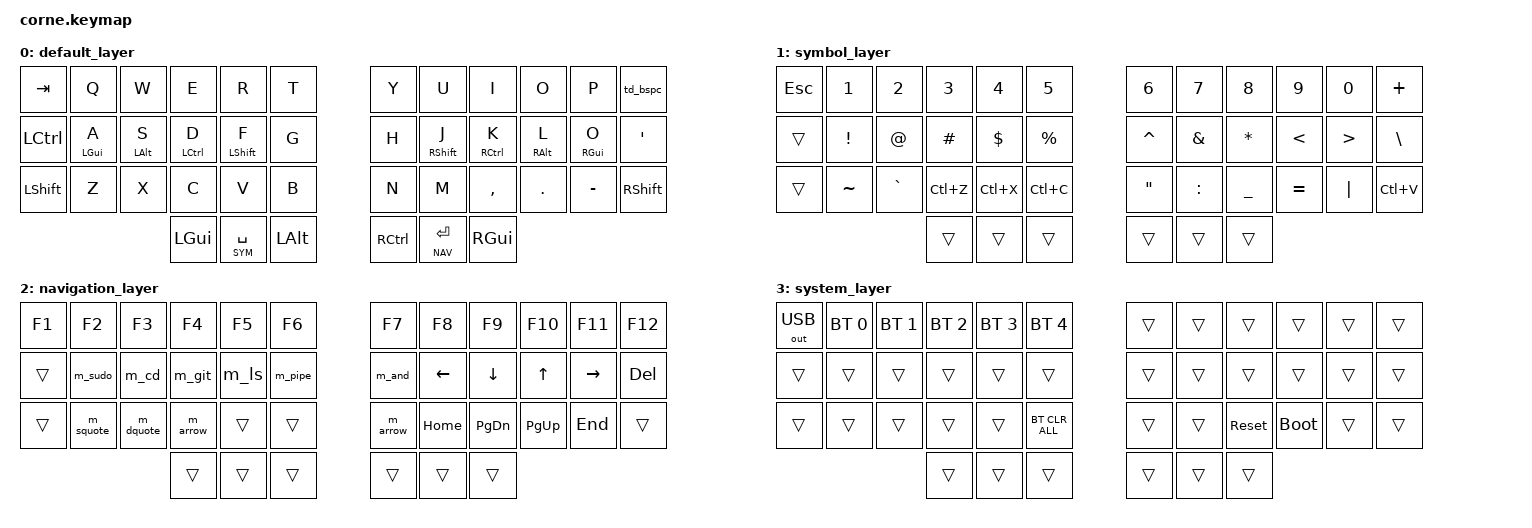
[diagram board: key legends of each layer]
/*
 * Copyright (c) 2020 The ZMK Contributors
 * SPDX-License-Identifier: MIT
 *
 * Corne V3 QWERTZ Layout - Mit Klammer-Combos und angepasstem Symbol-Layer
 */

#include <behaviors.dtsi>
#include <dt-bindings/zmk/keys.h>
#include <dt-bindings/zmk/bt.h>
#include <dt-bindings/zmk/outputs.h>

// Key Positions für Corne (0-41)
#define LEFT_POSITIONS  0 1 2 3 4 5 12 13 14 15 16 17 24 25 26 27 28 29 36 37 38
#define RIGHT_POSITIONS 6 7 8 9 10 11 18 19 20 21 22 23 30 31 32 33 34 35 39 40 41
/* Key Positions
╭────────────────────────╮ ╭────────────────────────╮
│  0   1   2   3   4   5 │ │  6   7   8   9  10  11 │
│ 12  13  14  15  16  17 │ │ 18  19  20  21  22  23 │
│ 24  25  26  27  28  29 │ │ 30  31  32  33  34  35 │
╰───────────╮ 36  37  38 │ │ 39  40  41 ╭───────────╯
                  ╰────────────╯ ╰────────────╯
*/

// Layer-Definitionen für bessere Lesbarkeit
#define DEF 0 // Default Layer
#define SYM 1 // Symbol Layer
#define NAV 2 // Navigations-/Funktions-Layer
#define SYS 3 // System Layer

/ { // Start des Root-Node Overlays

    behaviors {
        td_bspc: tap_dance_backspace {
            compatible = "zmk,behavior-tap-dance";
            #binding-cells = <0>;
            tapping-term-ms = <200>;
            bindings = <&kp BSPC>, <&kp LC(BSPC)>;
        };

        hrml: home_row_mods_left {
            compatible = "zmk,behavior-hold-tap";
            #binding-cells = <2>; 
            tapping-term-ms = <200>;
            quick-tap-ms = <150>;
            flavor = "balanced"; 
            hold-trigger-key-positions = <RIGHT_POSITIONS>;
            bindings = <&kp>, <&kp>; 
        };

        hrmr: home_row_mods_right {
            compatible = "zmk,behavior-hold-tap";
            #binding-cells = <2>; 
            tapping-term-ms = <200>;
            quick-tap-ms = <150>;
            flavor = "balanced";
            hold-trigger-key-positions = <LEFT_POSITIONS>;
            bindings = <&kp>, <&kp>; 
        };
        
        lt: layer_tap { 
            compatible = "zmk,behavior-hold-tap";
            #binding-cells = <2>; 
            tapping-term-ms = <250>; 
            quick-tap-ms = <150>;
            flavor = "hold-preferred"; 
            bindings = <&mo>, <&kp>; 
        };
    }; // Ende behaviors

    macros {
        m_sudo: macro_sudo { compatible = "zmk,behavior-macro"; #binding-cells = <0>; wait-ms = <10>; tap-ms = <10>; bindings = <&kp S>, <&kp U>, <&kp D>, <&kp O>, <&kp SPACE>; };
        m_cd: macro_cd { compatible = "zmk,behavior-macro"; #binding-cells = <0>; wait-ms = <10>; tap-ms = <10>; bindings = <&kp C>, <&kp D>, <&kp SPACE>; };
        m_ls: macro_ls { compatible = "zmk,behavior-macro"; #binding-cells = <0>; wait-ms = <10>; tap-ms = <10>; bindings = <&kp L>, <&kp S>, <&kp SPACE>, <&kp MINUS>, <&kp L>, <&kp A>, <&kp SPACE>; };
        m_git: macro_git { compatible = "zmk,behavior-macro"; #binding-cells = <0>; wait-ms = <10>; tap-ms = <10>; bindings = <&kp G>, <&kp I>, <&kp T>, <&kp SPACE>; };
        m_pipe: macro_pipe { compatible = "zmk,behavior-macro"; #binding-cells = <0>; wait-ms = <10>; tap-ms = <10>; bindings = <&kp SPACE>, <&kp PIPE>, <&kp SPACE>; };
        m_and: macro_and { compatible = "zmk,behavior-macro"; #binding-cells = <0>; wait-ms = <10>; tap-ms = <10>; bindings = <&kp SPACE>, <&kp AMPS>, <&kp AMPS>, <&kp SPACE>; };
        m_arrow: macro_arrow { compatible = "zmk,behavior-macro"; #binding-cells = <0>; wait-ms = <10>; tap-ms = <10>; bindings = <&kp MINUS>, <&kp GT>; };
        m_dquote: macro_dquote { compatible = "zmk,behavior-macro"; #binding-cells = <0>; wait-ms = <10>; tap-ms = <10>; bindings = <&kp DQT>, <&kp DQT>, <&kp LEFT>; }; // Behalten wir als Option
        m_squote: macro_squote { compatible = "zmk,behavior-macro"; #binding-cells = <0>; wait-ms = <10>; tap-ms = <10>; bindings = <&kp SQT>, <&kp SQT>, <&kp LEFT>; }; // Behalten wir als Option
    }; // Ende macros

    combos {
        compatible = "zmk,combos";
        combo_sys_layer {
            timeout-ms = <50>;
            key-positions = <20 41>; 
            bindings = <&to SYS>;
            layers = <DEF SYM NAV>; 
        };

        // Klammer-Combos
        combo_open_paren { timeout-ms = <50>; key-positions = <13 14>; bindings = <&kp LPAR>; layers = <DEF>; }; // ( via S+D
        combo_close_paren { timeout-ms = <50>; key-positions = <20 21>; bindings = <&kp RPAR>; layers = <DEF>; }; // ) via K+L
        combo_open_square { timeout-ms = <50>; key-positions = <12 13>; bindings = <&kp LBKT>; layers = <DEF>; }; // [ via A+S
        combo_close_square { timeout-ms = <50>; key-positions = <21 22>; bindings = <&kp RBKT>; layers = <DEF>; }; // ] via L+Ö(SQT)
        combo_open_brace { timeout-ms = <50>; key-positions = <1 2>; bindings = <&kp LBRC>; layers = <DEF>; };   // { via Q+W
        combo_close_brace { timeout-ms = <50>; key-positions = <8 9>; bindings = <&kp RBRC>; layers = <DEF>; };   // } via I+O
    }; // Ende combos

    keymap {
        compatible = "zmk,keymap";

        default_layer { 
            bindings = <
            &kp TAB      &kp Q            &kp W            &kp E            &kp R            &kp T            &kp Y            &kp U            &kp I            &kp O            &kp P            &td_bspc
            &kp LCTRL    &hrml LGUI A     &hrml LALT S     &hrml LCTRL D    &hrml LSHFT F    &kp G            &kp H            &hrmr RSHFT J    &hrmr RCTRL K    &hrmr RALT L     &hrmr RGUI O     &kp SQT
            &kp LSHFT    &kp Z            &kp X            &kp C            &kp V            &kp B            &kp N            &kp M            &kp COMMA        &kp DOT          &kp MINUS        &kp RSHFT
                                          &kp LGUI         &lt SYM SPACE    &kp LALT                          &kp RCTRL        &lt NAV RET      &kp RGUI
            >;
        };

        symbol_layer { 
            bindings = <
            // Linke Hälfte                                                                // Rechte Hälfte
            &kp ESC      &kp N1           &kp N2           &kp N3           &kp N4           &kp N5           &kp N6           &kp N7           &kp N8           &kp N9           &kp N0           &kp PLUS
            &trans       &kp EXCL         &kp AT           &kp HASH         &kp DLLR         &kp PRCNT        &kp CARET        &kp AMPS         &kp ASTRK        &kp LT           &kp GT           &kp BSLH // LPAR/RPAR durch LT/GT ersetzt wegen Combos
            &trans       &kp TILDE        &kp GRAVE        &kp LC(Z)        &kp LC(X)        &kp LC(C)        &kp DQT          &kp COLON        &kp UNDERSCORE   &kp EQUAL        &kp PIPE         &kp LC(V) // DQT, COLON, _, = hinzugefügt
                                          &trans           &trans           &trans                            &trans           &trans           &trans
            >;
        };

        navigation_layer { 
            bindings = <
            &kp F1       &kp F2           &kp F3           &kp F4           &kp F5           &kp F6           &kp F7           &kp F8           &kp F9           &kp F10          &kp F11          &kp F12
            &trans       &m_sudo          &m_cd            &m_git           &m_ls            &m_pipe          &m_and           &kp LEFT         &kp DOWN         &kp UP           &kp RIGHT        &kp DEL
            &trans       &m_squote        &m_dquote        &m_arrow         &trans           &trans           &m_arrow         &kp HOME         &kp PG_DN        &kp PG_UP        &kp END          &trans
                                          &trans           &trans           &trans                            &trans           &trans           &trans
            >;
        };

        system_layer { 
            bindings = <
            &out OUT_USB  &bt BT_SEL 0     &bt BT_SEL 1     &bt BT_SEL 2     &bt BT_SEL 3     &bt BT_SEL 4     &trans           &trans           &trans           &trans           &trans           &trans
            &trans        &trans           &trans           &trans           &trans           &trans           &trans           &trans           &trans           &trans           &trans           &trans
            &trans        &trans           &trans           &trans           &trans           &bt BT_CLR_ALL   &trans           &trans           &sys_reset       &bootloader      &trans           &trans
                                          &trans           &trans           &trans                            &trans           &trans           &trans
            >;
        };
    }; // Ende keymap

}; // Ende des Root-Node Overlays / { ... }
